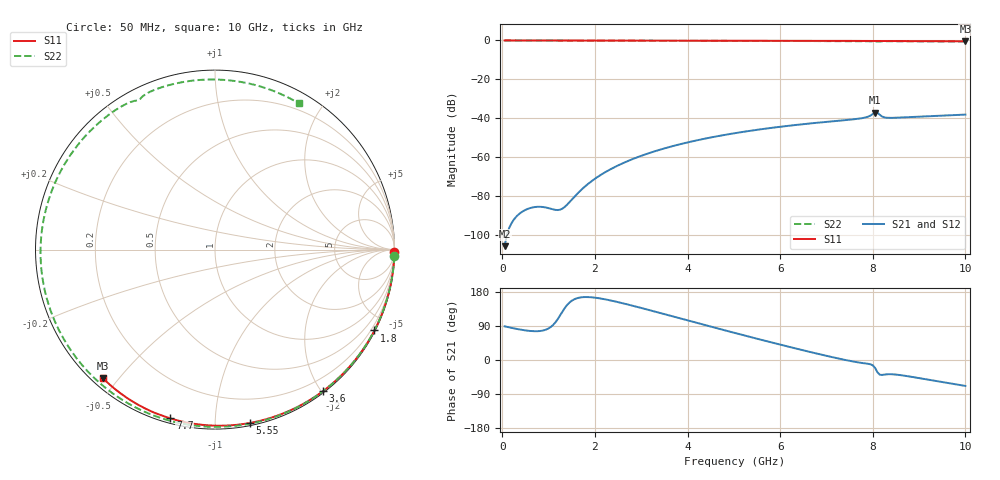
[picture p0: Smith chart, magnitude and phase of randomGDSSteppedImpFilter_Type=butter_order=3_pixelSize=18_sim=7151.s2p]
! freq	dB(S11)	phase(S11)	dB(S12)	phase(S12)
!  dB(S21)	phase(S21)	dB(S22)	phase(S22)
!S-par simulation data
#  GHz  S  DB  R 50
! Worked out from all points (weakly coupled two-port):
!   200 points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, 50 MHz to 10 GHz, reference 50 ohm
!   highest |S21| = -37.02 dB at 8.05 GHz (marker M1); lowest = -105.6 dB at 50 MHz (marker M2)
!   lowest |S11| = -0.4 dB at 10 GHz (marker M3), VSWR 39.31, Z = 1.53 - j22.7 ohm
!   |S11| at or under -10 dB: nowhere
!   |S22| runs from -0.6 to 0.0 dB; largest |S21 - S12| = 0
!   S11 on the Smith chart (normalised r, x): 50 MHz: open; 1.8 GHz: 0.04, -4.18; 3.6 GHz: 0.02, -2.03; 5.55 GHz: 0.02, -1.22; 7.7 GHz: 0.02, -0.77; 10 GHz: 0.03, -0.45
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0.05  -0.00 -0.8  -105.65 88.9  -105.65 88.9  -0.00 -2.0
0.75  -0.01 -11.3  -85.44 76.0  -85.44 76.0  -0.04 -29.1
1.55  -0.03 -23.2  -80.44 159.9  -80.44 159.9  -0.07 -58.6
1.75  -0.03 -26.1  -75.73 165.9  -75.73 165.9  -0.08 -65.7
1.8  -0.03 -26.9  -74.69 166.1  -74.69 166.1  -0.08 -67.4
2.1  -0.04 -31.3  -69.44 162.8  -69.44 162.8  -0.09 -77.7
2.45  -0.05 -36.3  -64.76 154.1  -64.76 154.1  -0.11 -89.2
2.9  -0.06 -42.7  -60.13 140.5  -60.13 140.5  -0.12 -103.3
3.4  -0.07 -49.8  -56.13 124.4  -56.13 124.4  -0.14 -118.3
3.6  -0.07 -52.6  -54.77 117.8  -54.77 117.8  -0.15 -124.0
4.35  -0.09 -62.8  -50.55 93.1  -50.55 93.1  -0.18 -144.8
5.05  -0.11 -72.1  -47.51 70.4  -47.51 70.4  -0.21 -163.4
5.55  -0.13 -78.5  -45.72 54.6  -45.72 54.6  -0.24 -176.3
6.1  -0.15 -85.5  -44.05 37.6  -44.05 37.6  -0.27 169.5
6.7  -0.18 -92.9  -42.50 19.6  -42.50 19.6  -0.31 153.9
7.7  -0.24 -104.8  -40.15 -6.6  -40.15 -6.6  -0.40 127.0
7.9  -0.26 -107.2  -39.12 -10.1  -39.12 -10.1  -0.44 121.3
8.05  -0.27 -108.9  -37.02 -21.0  -37.02 -21.0  -0.57 117.4
8.25  -0.27 -111.2  -39.50 -38.5  -39.50 -38.5  -0.44 112.5
8.35  -0.28 -112.4  -39.75 -37.5  -39.75 -37.5  -0.43 109.5
9.2  -0.36 -122.1  -38.89 -52.1  -38.89 -52.1  -0.48 84.4
10  -0.44 -131.2  -38.07 -68.5  -38.07 -68.5  -0.55 60.1
